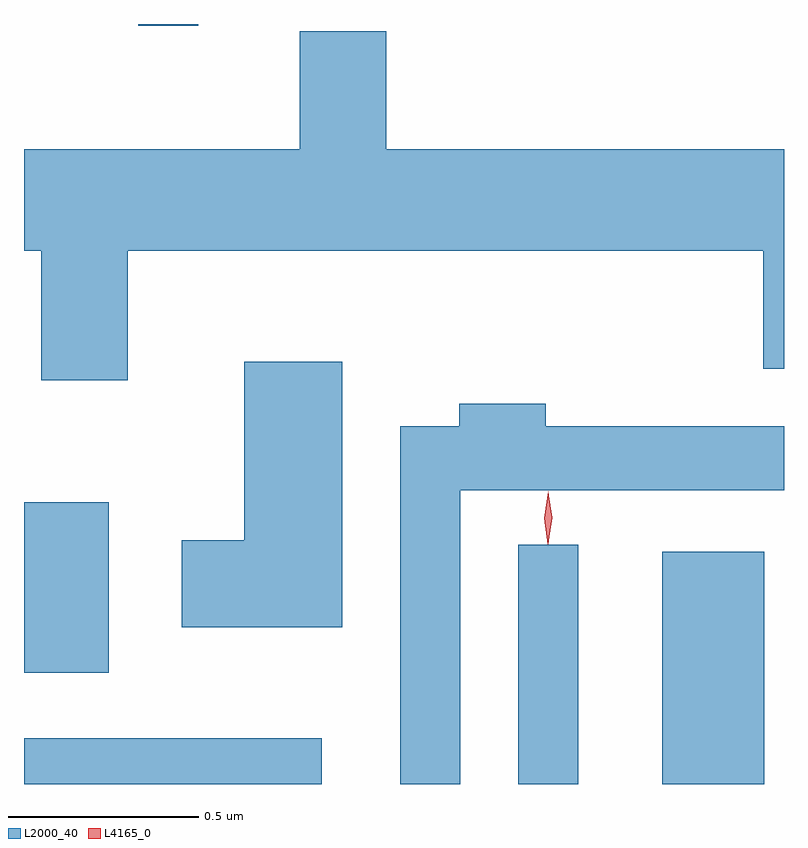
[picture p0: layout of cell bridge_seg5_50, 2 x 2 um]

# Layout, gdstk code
import gdstk
lib = gdstk.Library(unit=1e-6, precision=1e-09)
def R(c, l, rs):  # rectangles x0, y0, x1, y1
    for r in rs: c.add(gdstk.rectangle(r[:2], r[2:], *l))
def P(c, l, *ps):  # polygons
    for p in ps: c.add(gdstk.Polygon(p, *l))
L2000_40 = (2000, 40)
L4165_0 = (4165, 0)

bridge_seg5_50 = lib.new_cell('bridge_seg5_50')
R(bridge_seg5_50, L2000_40, [(1337.636,1466.493,1338.419,1466.614), (1338.936,1466.493,1339.094,1467.123), (1339.316,1466.493,1339.584,1467.104), (1337.636,1466.786,1337.859,1467.234), (1337.936,1468.488,1338.094,1468.493)])
P(bridge_seg5_50, L2000_40, [(1337.909,1467.896),(1339.581,1467.896),(1339.581,1467.586),(1339.636,1467.586),(1339.636,1468.164),(1338.589,1468.164),(1338.589,1468.474),(1338.361,1468.474),(1338.361,1468.164),(1337.636,1468.164),(1337.636,1467.896),(1337.681,1467.896),(1337.681,1467.556),(1337.909,1467.556)],
  [(1338.474,1467.604),(1338.216,1467.604),(1338.216,1467.134),(1338.051,1467.134),(1338.051,1466.906),(1338.474,1466.906)],
  [(1338.784,1467.266),(1339.636,1467.266),(1339.636,1467.434),(1339.009,1467.434),(1339.009,1467.494),(1338.781,1467.494),(1338.781,1467.434),(1338.626,1467.434),(1338.626,1466.493),(1338.784,1466.493)])
P(bridge_seg5_50, L4165_0, [(1339.014,1467.124),(1339.005,1467.193),(1339.015,1467.262),(1339.016,1467.263),(1339.016,1467.262),(1339.025,1467.193),(1339.015,1467.124),(1339.015,1467.124)],
  [(1339.016,1467.127),(1339.015,1467.128),(1339.006,1467.194),(1339.015,1467.26),(1339.016,1467.261),(1339.016,1467.26),(1339.026,1467.194),(1339.016,1467.128)])

lib.write_gds('bridge_seg5_50.gds')
